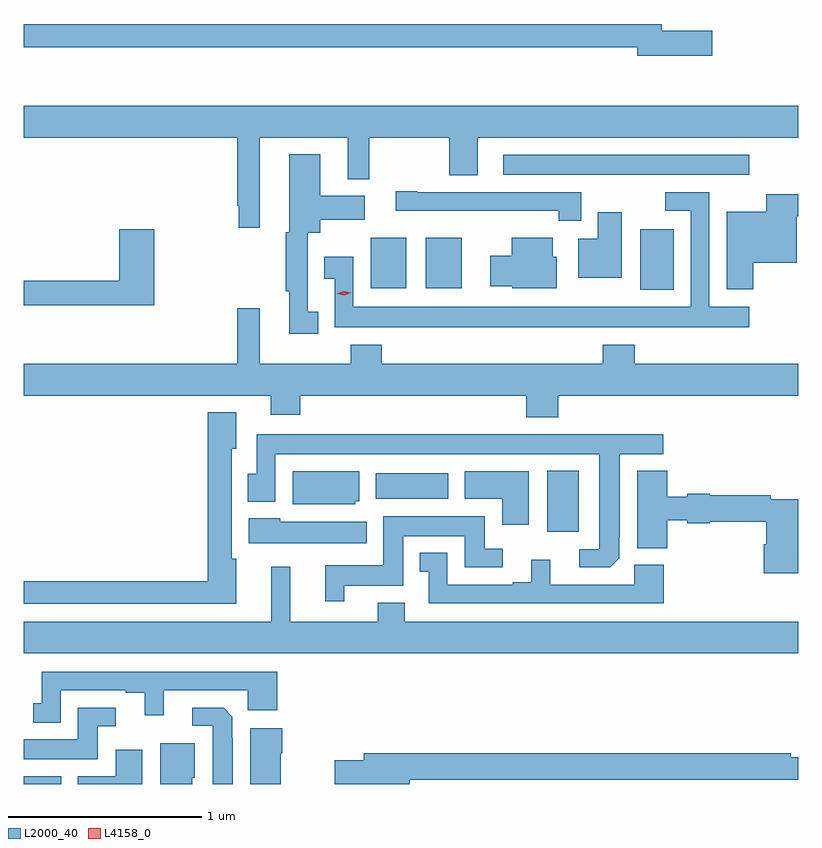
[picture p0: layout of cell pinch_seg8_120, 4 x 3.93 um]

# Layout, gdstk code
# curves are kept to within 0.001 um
import gdstk
lib = gdstk.Library(unit=1e-6, precision=1e-09)
def R(c, l, rs):  # rectangles x0, y0, x1, y1
    for r in rs: c.add(gdstk.rectangle(r[:2], r[2:], *l))
def P(c, l, *ps):  # polygons
    for p in ps: c.add(gdstk.Polygon(p, *l))
L2000_40 = (2000, 40)
L4158_0 = (4158, 0)

pinch_seg8_120 = lib.new_cell('pinch_seg8_120')
R(pinch_seg8_120, L2000_40, [(999.116,1086.522,999.31,1086.562), (1001.819,1087.824,1001.983,1088.14), (1000.935,1087.994,1001.308,1088.128), (1002.299,1089.074,1002.472,1089.388), (1000.907,1089.083,1001.092,1089.343), (1001.192,1089.083,1001.377,1089.343), (1001.592,1089.668,1002.862,1089.772)])
P(pinch_seg8_120, L2000_40, [(1002.673,1090.413),(1002.412,1090.413),(1002.412,1090.447),(999.116,1090.447),(999.116,1090.326),(1002.284,1090.326),(1002.284,1090.283),(1002.673,1090.283)],
  [(1000.336,1089.86),(1000.79,1089.86),(1000.79,1089.644),(1000.9,1089.644),(1000.9,1089.86),(1001.314,1089.86),(1001.314,1089.666),(1001.461,1089.666),(1001.461,1089.86),(1003.116,1089.86),(1003.116,1090.024),(999.116,1090.024),(999.116,1089.86),(1000.219,1089.86),(1000.219,1089.508),(1000.227,1089.508),(1000.227,1089.396),(1000.336,1089.396)],
  [(1000.637,1088.96),(1000.584,1088.96),(1000.584,1089.368),(1000.648,1089.368),(1000.648,1089.437),(1000.876,1089.437),(1000.876,1089.559),(1000.648,1089.559),(1000.648,1089.775),(1000.487,1089.775),(1000.487,1089.372),(1000.468,1089.372),(1000.468,1089.067),(1000.487,1089.067),(1000.487,1088.847),(1000.637,1088.847)],
  [(1001.995,1089.579),(1001.149,1089.579),(1001.149,1089.584),(1001.037,1089.584),(1001.037,1089.482),(1001.878,1089.482),(1001.878,1089.432),(1001.995,1089.432)],
  [(1002.862,1088.986),(1002.657,1088.986),(1002.657,1089.579),(1002.429,1089.579),(1002.429,1089.483),(1002.561,1089.483),(1002.561,1088.986),(1000.818,1088.986),(1000.818,1089.244),(1000.669,1089.244),(1000.669,1089.131),(1000.722,1089.131),(1000.722,1088.882),(1002.862,1088.882)],
  [(1002.884,1089.215),(1003.108,1089.215),(1003.108,1089.455),(1003.116,1089.455),(1003.116,1089.568),(1002.95,1089.568),(1002.95,1089.478),(1002.746,1089.478),(1002.746,1089.078),(1002.884,1089.078)],
  [(1002.205,1089.475),(1002.08,1089.475),(1002.08,1089.337),(1001.981,1089.337),(1001.981,1089.137),(1002.205,1089.137)],
  [(999.791,1089.388),(999.608,1089.388),(999.608,1089.122),(999.116,1089.122),(999.116,1088.994),(999.791,1088.994)],
  [(1001.869,1089.246),(1001.848,1089.246),(1001.848,1089.343),(1001.636,1089.343),(1001.636,1089.25),(1001.525,1089.25),(1001.525,1089.092),(1001.64,1089.092),(1001.64,1089.083),(1001.869,1089.083)],
  [(1001.876,1088.528),(1003.116,1088.528),(1003.116,1088.692),(1002.272,1088.692),(1002.272,1088.791),(1002.107,1088.791),(1002.107,1088.692),(1000.964,1088.692),(1000.964,1088.791),(1000.804,1088.791),(1000.804,1088.692),(1000.336,1088.692),(1000.336,1088.98),(1000.219,1088.98),(1000.219,1088.692),(999.116,1088.692),(999.116,1088.528),(1000.391,1088.528),(1000.391,1088.429),(1000.544,1088.429),(1000.544,1088.528),(1001.711,1088.528),(1001.711,1088.417),(1001.876,1088.417)],
  [(1000.213,1087.686),(1000.189,1087.686),(1000.189,1088.253),(1000.213,1088.253),(1000.213,1088.443),(1000.067,1088.443),(1000.067,1087.568),(999.116,1087.568),(999.116,1087.452),(1000.213,1087.452)],
  [(1002.192,1087.687),(1002.193,1088.225),(1002.418,1088.225),(1002.418,1088.329),(1000.319,1088.329),(1000.319,1088.124),(1000.274,1088.124),(1000.274,1087.98),(1000.416,1087.98),(1000.416,1088.225),(1002.089,1088.225),(1002.089,1087.734),(1001.985,1087.734),(1001.985,1087.641),(1002.146,1087.641)],
  [(1003.116,1087.992),(1002.974,1087.992),(1002.974,1088.012),(1002.66,1088.012),(1002.66,1088.02),(1002.542,1088.02),(1002.542,1088.005),(1002.44,1088.005),(1002.44,1088.14),(1002.284,1088.14),(1002.284,1087.739),(1002.44,1087.739),(1002.44,1087.883),(1002.542,1087.883),(1002.542,1087.868),(1002.66,1087.868),(1002.66,1087.876),(1002.95,1087.876),(1002.95,1087.761),(1002.938,1087.761),(1002.938,1087.611),(1003.116,1087.611)],
  [(1000.827,1087.983),(1000.849,1087.983),(1000.849,1088.137),(1000.505,1088.137),(1000.505,1087.967),(1000.827,1087.967)],
  [(1001.725,1088.137),(1001.393,1088.137),(1001.393,1087.994),(1001.588,1087.994),(1001.588,1087.86),(1001.725,1087.86)],
  [(1000.771,1087.547),(1001.077,1087.547),(1001.077,1087.802),(1001.393,1087.802),(1001.393,1087.641),(1001.59,1087.641),(1001.59,1087.737),(1001.497,1087.737),(1001.497,1087.906),(1000.973,1087.906),(1000.973,1087.651),(1000.673,1087.651),(1000.673,1087.467),(1000.771,1087.467)],
  [(1000.888,1087.876),(1000.44,1087.876),(1000.44,1087.894),(1000.278,1087.894),(1000.278,1087.766),(1000.888,1087.766)],
  [(1002.422,1087.654),(1002.27,1087.654),(1002.27,1087.551),(1001.836,1087.551),(1001.836,1087.681),(1001.738,1087.681),(1001.738,1087.564),(1001.642,1087.564),(1001.642,1087.551),(1001.304,1087.551),(1001.304,1087.717),(1001.162,1087.717),(1001.162,1087.617),(1001.208,1087.617),(1001.208,1087.455),(1002.422,1087.455)],
  [(1003.116,1087.36),(1001.083,1087.36),(1001.083,1087.459),(1000.943,1087.459),(1000.943,1087.36),(1000.493,1087.36),(1000.493,1087.645),(1000.394,1087.645),(1000.394,1087.36),(999.116,1087.36),(999.116,1087.196),(1003.116,1087.196)],
  [(999.306,1087.005),(999.644,1087.005),(999.644,1086.993),(999.74,1086.993),(999.74,1086.876),(999.838,1086.876),(999.838,1087.005),(1000.272,1087.005),(1000.272,1086.902),(1000.424,1086.902),(1000.424,1087.101),(999.21,1087.101),(999.21,1086.939),(999.164,1086.939),(999.164,1086.839),(999.306,1086.839)],
  [(999.499,1086.819),(999.592,1086.819),(999.592,1086.915),(999.395,1086.915),(999.395,1086.754),(999.116,1086.754),(999.116,1086.65),(999.499,1086.65)],
  [(1000.195,1086.758),(1000.194,1086.758),(1000.194,1086.869),(1000.148,1086.915),(999.987,1086.915),(999.987,1086.822),(1000.091,1086.822),(1000.091,1086.522),(1000.195,1086.522)],
  [(1000.444,1086.68),(1000.452,1086.68),(1000.452,1086.811),(1000.286,1086.811),(1000.286,1086.522),(1000.444,1086.522)],
  [(999.985,1086.555),(1000,1086.555),(1000,1086.733),(999.821,1086.733),(999.821,1086.522),(999.985,1086.522)],
  [(999.727,1086.7),(999.59,1086.7),(999.59,1086.562),(999.395,1086.562),(999.395,1086.522),(999.727,1086.522)],
  [(1001.11,1086.544),(1003.116,1086.544),(1003.116,1086.66),(1003.076,1086.66),(1003.076,1086.68),(1000.871,1086.68),(1000.871,1086.644),(1000.722,1086.644),(1000.722,1086.522),(1001.11,1086.522)])
P(pinch_seg8_120, L4158_0, [(1000.771,1089.046),(1000.734,1089.053),(1000.734,1089.053),(1000.734,1089.053),(1000.769,1089.066),(1000.805,1089.059),(1000.805,1089.058),(1000.805,1089.058)])

lib.write_gds('pinch_seg8_120.gds')
